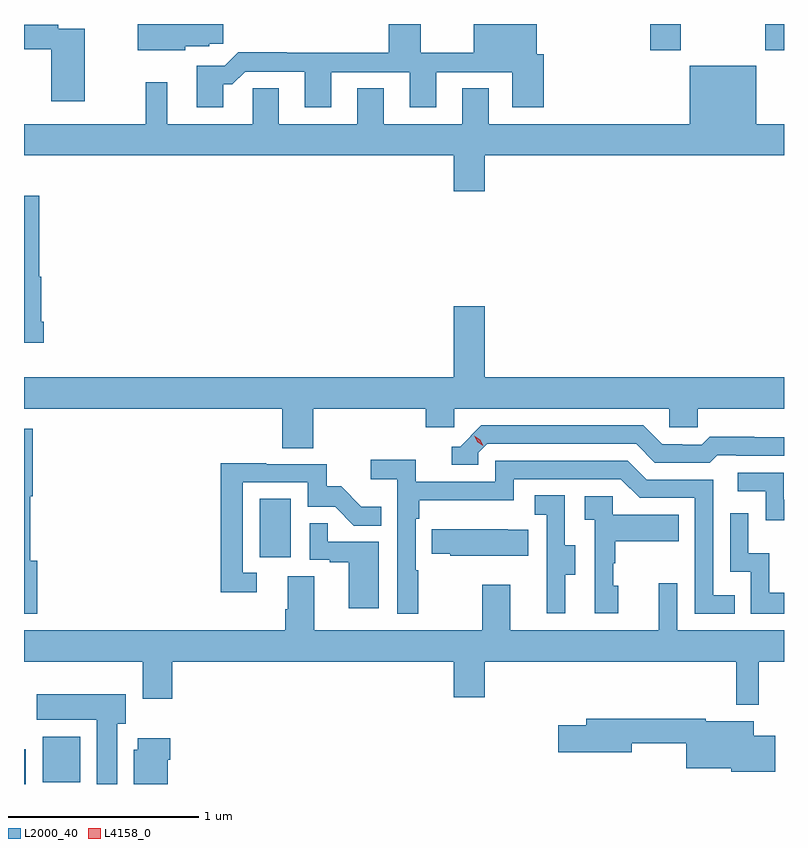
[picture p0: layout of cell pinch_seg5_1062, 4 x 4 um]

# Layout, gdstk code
import gdstk
lib = gdstk.Library(unit=1e-6, precision=1e-09)
def R(c, l, rs):  # rectangles x0, y0, x1, y1
    for r in rs: c.add(gdstk.rectangle(r[:2], r[2:], *l))
def P(c, l, *ps):  # polygons
    for p in ps: c.add(gdstk.Polygon(p, *l))
L2000_40 = (2000, 40)
L4158_0 = (4158, 0)

pinch_seg5_1062 = lib.new_cell('pinch_seg5_1062')
R(pinch_seg5_1062, L2000_40, [(858.051,861.444,858.061,861.628), (858.149,861.452,858.346,861.694), (859.292,862.638,859.456,862.945), (861.347,865.305,861.507,865.444), (861.952,865.305,862.051,865.444)])
P(pinch_seg5_1062, L2000_40, [(858.9,865.328),(859.026,865.328),(859.026,865.339),(859.099,865.339),(859.099,865.444),(858.65,865.444),(858.65,865.307),(858.9,865.307)],
  [(859.099,865.127),(859.148,865.127),(859.215,865.194),(859.529,865.194),(859.529,865.005),(859.669,865.005),(859.669,865.191),(860.081,865.191),(860.081,865.005),(860.221,865.005),(860.221,865.191),(860.621,865.191),(860.621,865.005),(860.786,865.005),(860.786,865.284),(860.749,865.284),(860.749,865.444),(860.417,865.444),(860.417,865.292),(860.14,865.292),(860.14,865.444),(859.97,865.444),(859.97,865.292),(859.433,865.292),(859.433,865.295),(859.178,865.295),(859.107,865.224),(858.959,865.224),(858.959,865.005),(859.099,865.005)],
  [(858.372,865.419),(858.23,865.419),(858.23,865.439),(858.051,865.439),(858.051,865.311),(858.194,865.311),(858.194,865.038),(858.372,865.038)],
  [(860.312,864.564),(860.476,864.564),(860.476,864.752),(862.051,864.752),(862.051,864.916),(861.904,864.916),(861.904,865.225),(861.554,865.225),(861.554,864.916),(860.497,864.916),(860.497,865.106),(860.357,865.106),(860.357,864.916),(859.945,864.916),(859.945,865.106),(859.805,865.106),(859.805,864.916),(859.393,864.916),(859.393,865.106),(859.254,865.106),(859.254,864.916),(858.805,864.916),(858.805,865.138),(858.691,865.138),(858.691,864.916),(858.051,864.916),(858.051,864.752),(860.312,864.752)],
  [(858.155,863.878),(858.142,863.878),(858.142,864.114),(858.13,864.114),(858.13,864.541),(858.051,864.541),(858.051,863.766),(858.155,863.766)],
  [(860.312,863.584),(858.051,863.584),(858.051,863.42),(859.409,863.42),(859.409,863.212),(859.574,863.212),(859.574,863.42),(860.165,863.42),(860.165,863.322),(860.316,863.322),(860.316,863.42),(861.447,863.42),(861.447,863.322),(861.597,863.322),(861.597,863.42),(862.051,863.42),(862.051,863.584),(860.476,863.584),(860.476,863.959),(860.312,863.959)],
  [(860.442,863.187),(860.49,863.235),(861.273,863.235),(861.372,863.136),(861.661,863.136),(861.7,863.175),(861.799,863.175),(861.799,863.172),(862.051,863.172),(862.051,863.269),(861.894,863.269),(861.894,863.272),(861.661,863.272),(861.619,863.229),(861.516,863.229),(861.516,863.232),(861.409,863.232),(861.31,863.331),(860.457,863.331),(860.346,863.22),(860.303,863.22),(860.303,863.124),(860.442,863.124)],
  [(858.122,862.62),(858.085,862.62),(858.085,862.958),(858.098,862.958),(858.098,863.314),(858.051,863.314),(858.051,862.341),(858.122,862.341)],
  [(860.125,862.568),(860.112,862.568),(860.112,862.841),(860.132,862.841),(860.132,862.937),(860.628,862.937),(860.628,863.049),(861.192,863.049),(861.291,862.95),(861.582,862.95),(861.582,862.341),(861.791,862.341),(861.791,862.437),(861.678,862.437),(861.678,863.046),(861.328,863.046),(861.229,863.145),(860.532,863.145),(860.532,863.034),(860.114,863.034),(860.114,863.15),(859.875,863.15),(859.875,863.048),(860.016,863.048),(860.016,862.341),(860.125,862.341)],
  [(859.276,862.557),(859.203,862.557),(859.203,863.031),(859.545,863.031),(859.545,862.902),(859.689,862.902),(859.787,862.804),(859.931,862.804),(859.931,862.903),(859.827,862.903),(859.72,863.01),(859.644,863.01),(859.644,863.127),(859.325,863.127),(859.325,863.132),(859.087,863.132),(859.087,862.452),(859.276,862.452)],
  [(862.051,862.941),(862.05,862.941),(862.05,863.082),(861.807,863.082),(861.807,862.986),(861.954,862.986),(861.954,862.833),(862.051,862.833)],
  [(860.899,862.546),(860.953,862.546),(860.953,862.701),(860.898,862.701),(860.898,862.964),(860.739,862.964),(860.739,862.861),(860.802,862.861),(860.802,862.557),(860.801,862.557),(860.801,862.344),(860.899,862.344)],
  [(861.178,862.488),(861.153,862.488),(861.153,862.607),(861.163,862.607),(861.163,862.721),(861.497,862.721),(861.497,862.861),(861.15,862.861),(861.15,862.959),(861.003,862.959),(861.003,862.835),(861.054,862.835),(861.054,862.344),(861.178,862.344)],
  [(862.051,862.45),(861.974,862.45),(861.974,862.658),(861.864,862.658),(861.864,862.87),(861.768,862.87),(861.768,862.56),(861.876,862.56),(861.876,862.341),(862.051,862.341)],
  [(859.918,862.719),(859.649,862.719),(859.649,862.817),(859.554,862.817),(859.554,862.623),(859.661,862.623),(859.661,862.611),(859.76,862.611),(859.76,862.368),(859.918,862.368)],
  [(860.705,862.783),(860.597,862.783),(860.597,862.786),(860.197,862.786),(860.197,862.657),(860.295,862.657),(860.295,862.646),(860.705,862.646)],
  [(861.489,862.501),(861.392,862.501),(861.392,862.252),(860.611,862.252),(860.611,862.492),(860.464,862.492),(860.464,862.252),(859.579,862.252),(859.579,862.538),(859.439,862.538),(859.439,862.364),(859.427,862.364),(859.427,862.252),(858.051,862.252),(858.051,862.088),(858.677,862.088),(858.677,861.894),(858.83,861.894),(858.83,862.088),(860.312,862.088),(860.312,861.9),(860.476,861.9),(860.476,862.088),(861.799,862.088),(861.799,861.86),(861.917,861.86),(861.917,862.088),(862.051,862.088),(862.051,862.252),(861.489,862.252)],
  [(858.541,861.762),(858.586,861.762),(858.586,861.916),(858.117,861.916),(858.117,861.782),(858.434,861.782),(858.434,861.444),(858.541,861.444)],
  [(862.006,861.697),(861.892,861.697),(861.892,861.775),(861.64,861.775),(861.64,861.787),(861.011,861.787),(861.011,861.753),(860.862,861.753),(860.862,861.611),(861.25,861.611),(861.25,861.658),(861.536,861.658),(861.536,861.527),(861.774,861.527),(861.774,861.509),(862.006,861.509)],
  [(858.808,861.572),(858.821,861.572),(858.821,861.685),(858.65,861.685),(858.65,861.624),(858.629,861.624),(858.629,861.444),(858.808,861.444)])
P(pinch_seg5_1062, L4158_0, [(860.468,863.224),(860.438,863.243),(860.422,863.276),(860.422,863.276),(860.422,863.276),(860.452,863.256),(860.468,863.224),(860.468,863.224)])

lib.write_gds('pinch_seg5_1062.gds')
